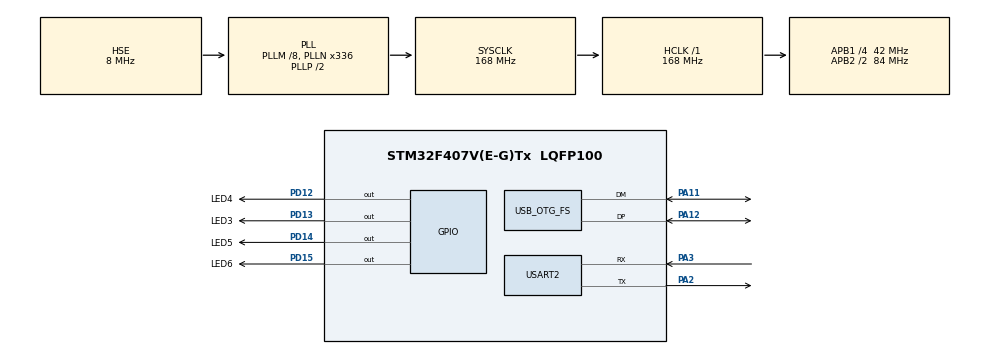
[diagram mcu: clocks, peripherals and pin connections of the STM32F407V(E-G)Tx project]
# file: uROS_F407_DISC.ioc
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Dma.Request0=USART2_RX
Dma.Request1=USART2_TX
Dma.USART2_RX.0.Direction=DMA_PERIPH_TO_MEMORY
Dma.USART2_RX.0.FIFOMode=DMA_FIFOMODE_DISABLE
Dma.USART2_RX.0.Instance=DMA1_Stream5
Dma.USART2_RX.0.MemDataAlignment=DMA_MDATAALIGN_BYTE
Dma.USART2_RX.0.MemInc=DMA_MINC_ENABLE
Dma.USART2_RX.0.Mode=DMA_CIRCULAR
Dma.USART2_RX.0.PeriphDataAlignment=DMA_PDATAALIGN_BYTE
Dma.USART2_RX.0.PeriphInc=DMA_PINC_DISABLE
Dma.USART2_RX.0.Priority=DMA_PRIORITY_VERY_HIGH
Dma.USART2_TX.1.Direction=DMA_MEMORY_TO_PERIPH
Dma.USART2_TX.1.FIFOMode=DMA_FIFOMODE_DISABLE
Dma.USART2_TX.1.Instance=DMA1_Stream6
Dma.USART2_TX.1.MemDataAlignment=DMA_MDATAALIGN_BYTE
Dma.USART2_TX.1.MemInc=DMA_MINC_ENABLE
Dma.USART2_TX.1.Mode=DMA_NORMAL
Dma.USART2_TX.1.PeriphDataAlignment=DMA_PDATAALIGN_BYTE
Dma.USART2_TX.1.PeriphInc=DMA_PINC_DISABLE
Dma.USART2_TX.1.Priority=DMA_PRIORITY_VERY_HIGH
FREERTOS.Tasks01=defaultTask,24,3000,StartDefaultTask,Default,NULL,Dynamic,NULL,NULL
Mcu.Family=STM32F4
Mcu.Name=STM32F407V(E-G)Tx
Mcu.Package=LQFP100
NVIC.DMA1_Stream5_IRQn=true\:5\:0\:false\:false\:true\:true\:false\:true
NVIC.DMA1_Stream6_IRQn=true\:5\:0\:false\:false\:true\:true\:false\:true
NVIC.OTG_FS_IRQn=true\:5\:0\:false\:false\:true\:true\:true\:true
NVIC.PriorityGroup=NVIC_PRIORITYGROUP_4
NVIC.TIM1_UP_TIM10_IRQn=true\:15\:0\:false\:false\:true\:false\:false\:true
NVIC.TimeBase=TIM1_UP_TIM10_IRQn
NVIC.TimeBaseIP=TIM1
NVIC.USART2_IRQn=true\:5\:0\:false\:false\:true\:true\:true\:true
PA11.Mode=Device_Only
PA11.Signal=USB_OTG_FS_DM
PA12.Mode=Device_Only
PA12.Signal=USB_OTG_FS_DP
PA2.Mode=Asynchronous
PA2.Signal=USART2_TX
PA3.Mode=Asynchronous
PA3.Signal=USART2_RX
PD12.GPIO_Label=LED4
PD12.Signal=GPIO_Output
PD13.GPIO_Label=LED3
PD13.Signal=GPIO_Output
PD14.GPIO_Label=LED5
PD14.Signal=GPIO_Output
PD15.GPIO_Label=LED6
PD15.Signal=GPIO_Output
PH0-OSC_IN.Mode=HSE-External-Oscillator
PH0-OSC_IN.Signal=RCC_OSC_IN
PH1-OSC_OUT.Mode=HSE-External-Oscillator
PH1-OSC_OUT.Signal=RCC_OSC_OUT
ProjectManager.HeapSize=0x200
ProjectManager.StackSize=0x400
ProjectManager.TargetToolchain=STM32CubeIDE
RCC.48MHZClocksFreq_Value=48000000
RCC.AHBFreq_Value=168000000
RCC.APB1CLKDivider=RCC_HCLK_DIV4
RCC.APB1Freq_Value=42000000
RCC.APB1TimFreq_Value=84000000
RCC.APB2CLKDivider=RCC_HCLK_DIV2
RCC.APB2Freq_Value=84000000
RCC.APB2TimFreq_Value=168000000
RCC.CortexFreq_Value=168000000
RCC.HCLKFreq_Value=168000000
RCC.HSE_VALUE=8000000
RCC.HSI_VALUE=16000000
RCC.LSE_VALUE=32768
RCC.PLLM=8
RCC.PLLN=336
RCC.PLLQ=7
RCC.SYSCLKFreq_VALUE=168000000
RCC.SYSCLKSource=RCC_SYSCLKSOURCE_PLLCLK
RCC.VCOOutputFreq_Value=336000000
USART2.VirtualMode=VM_ASYNC
USB_DEVICE.CLASS_NAME_FS=CDC
USB_DEVICE.VirtualMode-CDC_FS=Cdc
USB_DEVICE.VirtualModeFS=Cdc_FS
USB_OTG_FS.VirtualMode=Device_Only
VP_FREERTOS_VS_CMSIS_V2.Mode=CMSIS_V2
VP_SYS_VS_tim1.Mode=TIM1
VP_USB_DEVICE_VS_USB_DEVICE_CDC_FS.Mode=CDC_FS
board=STM32F407G-DISC1

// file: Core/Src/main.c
/* USER CODE BEGIN Header */
/**
  ******************************************************************************
  * @file           : main.c
  * @brief          : Main program body
  ******************************************************************************
  * @attention
  *
  * <h2><center>&copy; Copyright (c) 2024 STMicroelectronics.
  * All rights reserved.</center></h2>
  *
  * This software component is licensed by ST under Ultimate Liberty license
  * SLA0044, the "License"; You may not use this file except in compliance with
  * the License. You may obtain a copy of the License at:
  *                             www.st.com/SLA0044
  *
  ******************************************************************************
  */
/* USER CODE END Header */
#include "main.h"
#include "cmsis_os.h"
#include "usb_device.h"
#include "usb_device.h"

/* USER CODE BEGIN Includes */
#include <rcl/rcl.h>
#include <rcl/error_handling.h>
#include <rclc/rclc.h>
#include <rclc/executor.h>
#include <uxr/client/transport.h>
#include <rmw_microxrcedds_c/config.h>
#include <rmw_microros/rmw_microros.h>

#include <std_msgs/msg/int32.h>
#include <geometry_msgs/msg/twist.h>
#include <sensor_msgs/msg/imu.h>

/* USER CODE END Includes */

UART_HandleTypeDef huart2;
DMA_HandleTypeDef hdma_usart2_rx;
DMA_HandleTypeDef hdma_usart2_tx;

/* Definitions for defaultTask */
osThreadId_t defaultTaskHandle;
const osThreadAttr_t defaultTask_attributes = {
  .name = "defaultTask",
  .stack_size = 3000 * 4,
  .priority = (osPriority_t) osPriorityNormal,
};

void SystemClock_Config(void);
static void MX_GPIO_Init(void);
static void MX_DMA_Init(void);
static void MX_USART2_UART_Init(void);
void StartDefaultTask(void *argument);

int main(void)
{

  /* MCU Configuration--------------------------------------------------------*/

  /* Reset of all peripherals, Initializes the Flash interface and the Systick. */
  HAL_Init();

  /* Configure the system clock */
  SystemClock_Config();

  /* Initialize all configured peripherals */
  MX_GPIO_Init();
  MX_DMA_Init();
  MX_USART2_UART_Init();

  /* Init scheduler */
  osKernelInitialize();

  /* Create the thread(s) */
  /* creation of defaultTask */
  defaultTaskHandle = osThreadNew(StartDefaultTask, NULL, &defaultTask_attributes);

  /* Start scheduler */
  osKernelStart();

  /* We should never get here as control is now taken by the scheduler */
  /* Infinite loop */
  while (1)
  {

  }
}

void SystemClock_Config(void)
{
  RCC_OscInitTypeDef RCC_OscInitStruct = {0};
  RCC_ClkInitTypeDef RCC_ClkInitStruct = {0};

  /** Configure the main internal regulator output voltage
  */
  __HAL_RCC_PWR_CLK_ENABLE();
  __HAL_PWR_VOLTAGESCALING_CONFIG(PWR_REGULATOR_VOLTAGE_SCALE1);
  /** Initializes the RCC Oscillators according to the specified parameters
  * in the RCC_OscInitTypeDef structure.
  */
  RCC_OscInitStruct.OscillatorType = RCC_OSCILLATORTYPE_HSE;
  RCC_OscInitStruct.HSEState = RCC_HSE_ON;
  RCC_OscInitStruct.PLL.PLLState = RCC_PLL_ON;
  RCC_OscInitStruct.PLL.PLLSource = RCC_PLLSOURCE_HSE;
  RCC_OscInitStruct.PLL.PLLM = 8;
  RCC_OscInitStruct.PLL.PLLN = 336;
  RCC_OscInitStruct.PLL.PLLP = RCC_PLLP_DIV2;
  RCC_OscInitStruct.PLL.PLLQ = 7;
  if (HAL_RCC_OscConfig(&RCC_OscInitStruct) != HAL_OK)
  {
    Error_Handler();
  }
  /** Initializes the CPU, AHB and APB buses clocks
  */
  RCC_ClkInitStruct.ClockType = RCC_CLOCKTYPE_HCLK|RCC_CLOCKTYPE_SYSCLK
                              |RCC_CLOCKTYPE_PCLK1|RCC_CLOCKTYPE_PCLK2;
  RCC_ClkInitStruct.SYSCLKSource = RCC_SYSCLKSOURCE_PLLCLK;
  RCC_ClkInitStruct.AHBCLKDivider = RCC_SYSCLK_DIV1;
  RCC_ClkInitStruct.APB1CLKDivider = RCC_HCLK_DIV4;
  RCC_ClkInitStruct.APB2CLKDivider = RCC_HCLK_DIV2;

  if (HAL_RCC_ClockConfig(&RCC_ClkInitStruct, FLASH_LATENCY_5) != HAL_OK)
  {
    Error_Handler();
  }
}

static void MX_USART2_UART_Init(void)
{

  huart2.Instance = USART2;
  huart2.Init.BaudRate = 115200;
  huart2.Init.WordLength = UART_WORDLENGTH_8B;
  huart2.Init.StopBits = UART_STOPBITS_1;
  huart2.Init.Parity = UART_PARITY_NONE;
  huart2.Init.Mode = UART_MODE_TX_RX;
  huart2.Init.HwFlowCtl = UART_HWCONTROL_NONE;
  huart2.Init.OverSampling = UART_OVERSAMPLING_16;
  if (HAL_UART_Init(&huart2) != HAL_OK)
  {
    Error_Handler();
  }

}

static void MX_DMA_Init(void)
{

  /* DMA controller clock enable */
  __HAL_RCC_DMA1_CLK_ENABLE();

  /* DMA interrupt init */
  /* DMA1_Stream5_IRQn interrupt configuration */
  HAL_NVIC_SetPriority(DMA1_Stream5_IRQn, 5, 0);
  HAL_NVIC_EnableIRQ(DMA1_Stream5_IRQn);
  /* DMA1_Stream6_IRQn interrupt configuration */
  HAL_NVIC_SetPriority(DMA1_Stream6_IRQn, 5, 0);
  HAL_NVIC_EnableIRQ(DMA1_Stream6_IRQn);

}

static void MX_GPIO_Init(void)
{
  GPIO_InitTypeDef GPIO_InitStruct = {0};

  /* GPIO Ports Clock Enable */
  __HAL_RCC_GPIOH_CLK_ENABLE();
  __HAL_RCC_GPIOA_CLK_ENABLE();
  __HAL_RCC_GPIOD_CLK_ENABLE();

  /*Configure GPIO pin Output Level */
  HAL_GPIO_WritePin(GPIOD, LED4_Pin|LED3_Pin|LED5_Pin|LED6_Pin, GPIO_PIN_RESET);

  /*Configure GPIO pins : LED4_Pin LED3_Pin LED5_Pin LED6_Pin */
  GPIO_InitStruct.Pin = LED4_Pin|LED3_Pin|LED5_Pin|LED6_Pin;
  GPIO_InitStruct.Mode = GPIO_MODE_OUTPUT_PP;
  GPIO_InitStruct.Pull = GPIO_NOPULL;
  GPIO_InitStruct.Speed = GPIO_SPEED_FREQ_LOW;
  HAL_GPIO_Init(GPIOD, &GPIO_InitStruct);

}

/* USER CODE BEGIN 4 */
bool cubemx_transport_open(struct uxrCustomTransport * transport);
bool cubemx_transport_close(struct uxrCustomTransport * transport);
size_t cubemx_transport_write(struct uxrCustomTransport* transport, const uint8_t * buf, size_t len, uint8_t * err);
size_t cubemx_transport_read(struct uxrCustomTransport* transport, uint8_t* buf, size_t len, int timeout, uint8_t* err);

void * microros_allocate(size_t size, void * state);
void microros_deallocate(void * pointer, void * state);
void * microros_reallocate(void * pointer, size_t size, void * state);
void * microros_zero_allocate(size_t number_of_elements, size_t size_of_element, void * state);

//twist message cb
void subscription_callback(const void *msgin) {
  const geometry_msgs__msg__Twist * msg = (const geometry_msgs__msg__Twist *)msgin;

  // if velocity in x direction is 0 turn off LED, if 1 turn on LED
  if (msg->linear.x > 0){
	  HAL_GPIO_WritePin(LED6_GPIO_Port, LED6_Pin,1);
	  HAL_GPIO_WritePin(LED3_GPIO_Port, LED3_Pin,0);
	  HAL_GPIO_WritePin(LED5_GPIO_Port, LED5_Pin, 0);
	  HAL_GPIO_WritePin(LED4_GPIO_Port, LED4_Pin, 0);
  	  }
	  else if (msg->linear.x < 0){
	  HAL_GPIO_WritePin(LED6_GPIO_Port, LED6_Pin,0);
	  HAL_GPIO_WritePin(LED3_GPIO_Port, LED3_Pin,1);
	  HAL_GPIO_WritePin(LED5_GPIO_Port, LED5_Pin, 0);
	  HAL_GPIO_WritePin(LED4_GPIO_Port, LED4_Pin, 0);

	  }

  if (msg->linear.y > 0){
	  HAL_GPIO_WritePin(LED6_GPIO_Port, LED6_Pin,0);
	  HAL_GPIO_WritePin(LED3_GPIO_Port, LED3_Pin,0);
	  HAL_GPIO_WritePin(LED5_GPIO_Port, LED5_Pin, 1);
	  HAL_GPIO_WritePin(LED4_GPIO_Port, LED4_Pin, 0);
  } else if (msg->linear.y < 0){
	  HAL_GPIO_WritePin(LED6_GPIO_Port, LED6_Pin,0);
	  HAL_GPIO_WritePin(LED3_GPIO_Port, LED3_Pin,0);
	  HAL_GPIO_WritePin(LED5_GPIO_Port, LED5_Pin, 0);
	  HAL_GPIO_WritePin(LED4_GPIO_Port, LED4_Pin, 1);

  }

}
/* USER CODE END 4 */

void StartDefaultTask(void *argument)
{
  /* init code for USB_DEVICE */
  MX_USB_DEVICE_Init();
  /* USER CODE BEGIN 5 */

  // micro-ROS configuration

    rmw_uros_set_custom_transport(
      true,
      (void *) &huart2,
      cubemx_transport_open,
      cubemx_transport_close,
      cubemx_transport_write,
      cubemx_transport_read);

    rcl_allocator_t freeRTOS_allocator = rcutils_get_zero_initialized_allocator();
    freeRTOS_allocator.allocate = microros_allocate;
    freeRTOS_allocator.deallocate = microros_deallocate;
    freeRTOS_allocator.reallocate = microros_reallocate;
    freeRTOS_allocator.zero_allocate =  microros_zero_allocate;

    if (!rcutils_set_default_allocator(&freeRTOS_allocator)) {
        printf("Error on default allocators (line %d)\n", __LINE__);
    }
// Include necessary libraries for ROS2 and micro-ROS
rcl_publisher_t publisher; // Publisher object
std_msgs__msg__Int32 msg;  // Message object for publishing an integer
rclc_support_t support;    // Support object for managing initialization
rcl_allocator_t allocator; // Allocator for memory management
rcl_node_t node;           // Node object representing the micro-ROS node
rcl_subscription_t subscriber; // Subscriber object
geometry_msgs__msg__Twist msg_sub; // Message object for receiving velocity commands
rclc_executor_t executor;  // Executor for managing callbacks

// Initialize the default allocator
allocator = rcl_get_default_allocator();

// Initialize the support structure with default options
rclc_support_init(&support, 0, NULL, &allocator);

// Create a micro-ROS node with the name "TPE_Publisher"
rclc_node_init_default(&node, "TPE_Publisher", "", &support);

// Initialize the publisher to send messages of type std_msgs/Int32 on the "stm32_publisher" topic
rclc_publisher_init_default(
    &publisher,
    &node,
    ROSIDL_GET_MSG_TYPE_SUPPORT(std_msgs, msg, Int32),
    "stm32_publisher"
);

// Initialize the subscriber to receive messages of type geometry_msgs/Twist on the "cmd_vel" topic
rclc_subscription_init_default(
    &subscriber,
    &node,
    ROSIDL_GET_MSG_TYPE_SUPPORT(geometry_msgs, msg, Twist),
    "cmd_vel"
);

// Initialize the executor to handle callbacks and link it to the context
rclc_executor_init(&executor, &support.context, 1, &allocator);

// Add the subscriber to the executor, linking it with a callback function
rclc_executor_add_subscription(&executor, &subscriber, &msg_sub, &subscription_callback, ON_NEW_DATA);

// Initialize the message data
msg.data = 0;

// Infinite loop for processing ROS2 communication
for (;;)
{
    // Spin the executor to process incoming subscriptions and callbacks
    rclc_executor_spin_some(&executor, RCL_MS_TO_NS(100));

    // Publish the message on the "stm32_publisher" topic
    rcl_ret_t ret = rcl_publish(&publisher, &msg, NULL);
    if (ret != RCL_RET_OK)
    {
        // Print an error message if publishing fails
        printf("Error publishing (line %d)\n", __LINE__);
    }

    // Increment the message data for the next publish cycle
    msg.data++;

    // Delay for 10 ms
    osDelay(10);
}

  /* USER CODE END 5 */
}

void HAL_TIM_PeriodElapsedCallback(TIM_HandleTypeDef *htim)
{
  if (htim->Instance == TIM1) {
    HAL_IncTick();
  }
}

void Error_Handler(void)
{
  __disable_irq();
  while (1)
  {
  }
}

/************************ (C) COPYRIGHT STMicroelectronics *****END OF FILE****/
